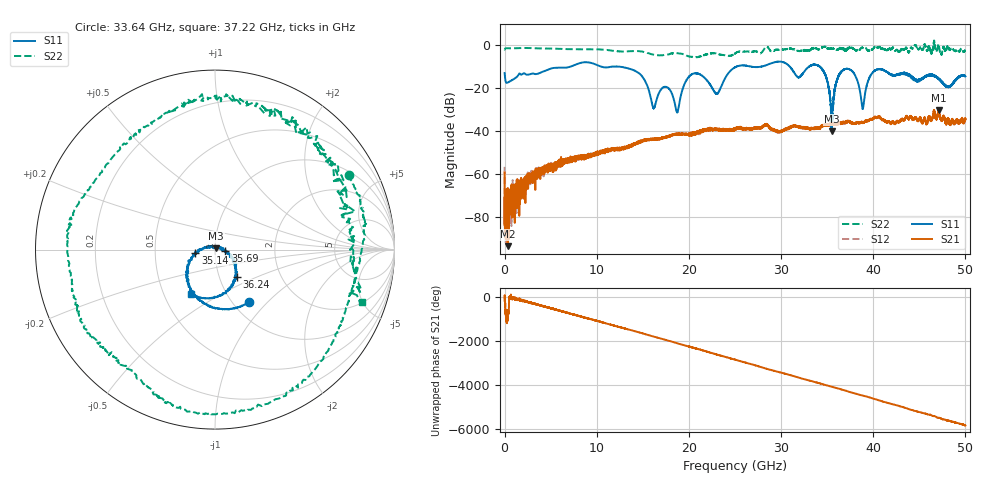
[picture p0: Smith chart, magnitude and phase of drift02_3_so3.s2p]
!Created with skrf (http://scikit-rf.org).
# Hz S RI R 50.0
!freq ReS11 ImS11 ReS21 ImS21 ReS12 ImS12 ReS22 ImS22
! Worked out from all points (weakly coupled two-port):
!   10001 points, 300 kHz to 50 GHz, reference 50 ohm
!   highest |S21| = -30.26 dB at 47.1 GHz (marker M1); lowest = -93.8 dB at 330.3 MHz (marker M2)
!   lowest |S11| = -40.2 dB at 35.51 GHz (marker M3), VSWR 1.02, Z = 50.6 + j0.759 ohm
!   |S11| at or under -10 dB: start of sweep to 7.176 GHz; 12.33 GHz to 25.16 GHz (12.84 GHz wide, 68.5 % of centre); 34.19 GHz to end of sweep (the widest 3 of 23)
!   |S22| runs from -5.7 to 2.2 dB; largest |S21 - S12| = 0.0032
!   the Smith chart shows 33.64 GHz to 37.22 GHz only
!   S11 on the Smith chart (normalised r, x): 33.64 GHz: 1.19, -0.79; 35.14 GHz: 0.80, -0.03; 35.69 GHz: 1.12, -0.01; 36.24 GHz: 1.21, -0.38; 37.22 GHz: 0.68, -0.37
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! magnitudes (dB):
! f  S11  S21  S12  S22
! 300 kHz  -13.0  -59.4  -56.8  -2.1
! 330.3 MHz  -17.5  -93.8  -74.8  -1.4
! 8.335 GHz  -8.2  -52.5  -52.5  -1.9
! 14.02 GHz  -11.7  -46.4  -46.1  -2.8
! 16.14 GHz  -29.4  -44.0  -43.8  -4.4
! 16.67 GHz  -23.1  -43.7  -43.8  -4.8
! 18.73 GHz  -31.3  -41.5  -41.4  -3.8
! 20.24 GHz  -13.9  -41.3  -41.6  -5.4
! 23.03 GHz  -22.7  -39.6  -39.4  -4.0
! 25 GHz  -10.3  -39.3  -39.3  -3.9
! 33.34 GHz  -9.3  -38.7  -38.8  -1.6
! 33.64 GHz  -9.2  -39.0  -38.6  -1.4
! 35.14 GHz  -19.1  -37.3  -37.1  -1.7
! 35.51 GHz  -40.2  -37.1  -36.9  -1.8
! 35.69 GHz  -24.8  -36.8  -36.7  -1.6
! 36.24 GHz  -14.3  -36.8  -36.6  -1.7
! 37.22 GHz  -11.0  -35.8  -35.3  -1.2
! 38.86 GHz  -29.7  -36.2  -36.0  -1.3
! 39.94 GHz  -12.8  -34.3  -34.7  -1.9
! 41.67 GHz  -13.1  -35.7  -35.7  -1.8
! 47.1 GHz  -15.6  -30.3  -30.8  0.5
! 50 GHz  -14.5  -34.4  -34.7  -2.6
